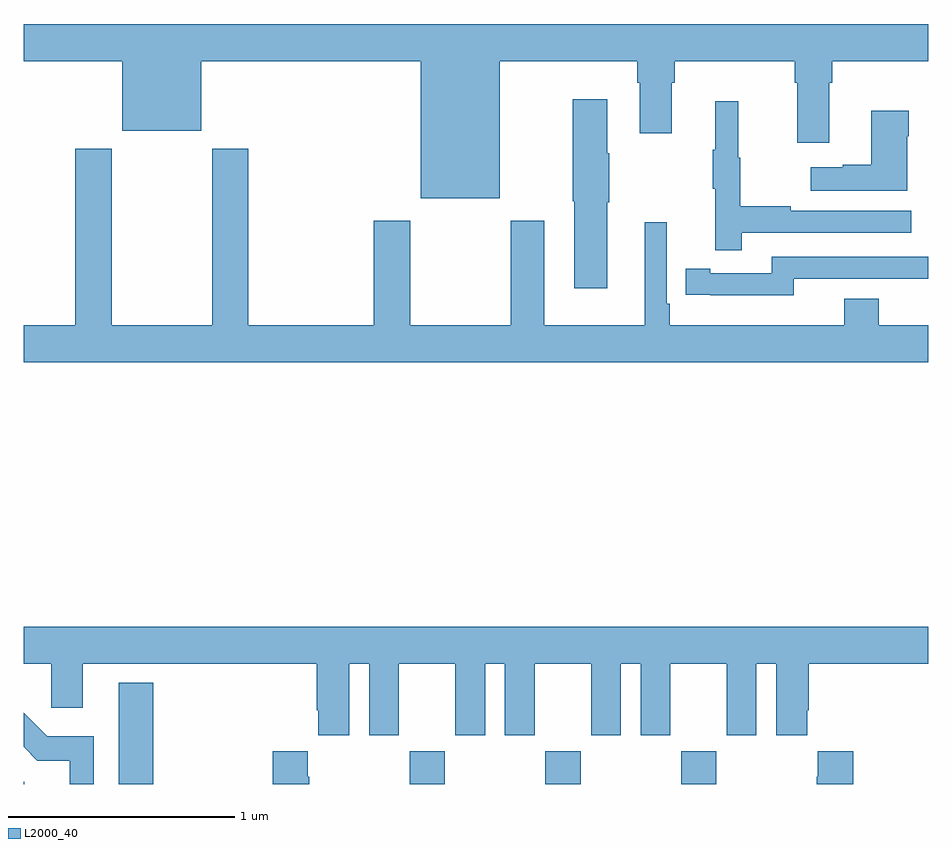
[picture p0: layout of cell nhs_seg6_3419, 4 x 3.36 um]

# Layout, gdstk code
import gdstk
lib = gdstk.Library(unit=1e-6, precision=1e-09)
def R(c, l, rs):  # rectangles x0, y0, x1, y1
    for r in rs: c.add(gdstk.rectangle(r[:2], r[2:], *l))
def A(c, l, x, y, w, h, nx, ny, dx, dy):  # array of equal rectangles
    R(c, l, [(x+i*dx, y+j*dy, x+i*dx+w, y+j*dy+h) for i in range(nx) for j in range(ny)])
def P(c, l, *ps):  # polygons
    for p in ps: c.add(gdstk.Polygon(p, *l))
L2000_40 = (2000, 40)

nhs_seg6_3419 = lib.new_cell('nhs_seg6_3419')
A(nhs_seg6_3419, L2000_40, 314.707, 917.5, 0.155, 0.144, 3, 1, 0.6, 0)
R(nhs_seg6_3419, L2000_40, [(313,917.5,313.003,917.511), (313.421,917.5,313.574,917.947)])
P(nhs_seg6_3419, L2000_40, [(315.106,920.696),(315.713,920.696),(315.713,920.6),(315.725,920.6),(315.725,920.376),(315.865,920.376),(315.865,920.6),(315.878,920.6),(315.878,920.696),(316.409,920.696),(316.409,920.6),(316.421,920.6),(316.421,920.334),(316.561,920.334),(316.561,920.6),(316.574,920.6),(316.574,920.696),(317,920.696),(317,920.86),(313,920.86),(313,920.696),(313.436,920.696),(313.436,920.387),(313.786,920.387),(313.786,920.696),(314.756,920.696),(314.756,920.09),(315.106,920.09)],
  [(315.58,920.071),(315.588,920.071),(315.588,920.288),(315.58,920.288),(315.58,920.527),(315.427,920.527),(315.427,920.077),(315.434,920.077),(315.434,919.692),(315.58,919.692)],
  [(316.175,919.938),(316.924,919.938),(316.924,920.034),(316.391,920.034),(316.391,920.054),(316.168,920.054),(316.168,920.268),(316.16,920.268),(316.16,920.518),(316.058,920.518),(316.058,920.305),(316.047,920.305),(316.047,920.131),(316.058,920.131),(316.058,919.86),(316.175,919.86)],
  [(316.906,920.363),(316.914,920.363),(316.914,920.476),(316.748,920.476),(316.748,920.237),(316.622,920.237),(316.622,920.227),(316.479,920.227),(316.479,920.123),(316.906,920.123)],
  [(317,919.528),(316.781,919.528),(316.781,919.645),(316.628,919.645),(316.628,919.528),(315.857,919.528),(315.857,919.624),(315.843,919.624),(315.843,919.984),(315.746,919.984),(315.746,919.528),(315.301,919.528),(315.301,919.99),(315.154,919.99),(315.154,919.528),(314.709,919.528),(314.709,919.99),(314.549,919.99),(314.549,919.528),(313.994,919.528),(313.994,920.308),(313.834,920.308),(313.834,919.528),(313.389,919.528),(313.389,920.308),(313.229,920.308),(313.229,919.528),(313,919.528),(313,919.364),(317,919.364)],
  [(316.404,919.734),(316.864,919.734),(316.864,919.733),(317,919.733),(317,919.83),(316.308,919.83),(316.308,919.758),(316.036,919.758),(316.036,919.778),(315.928,919.778),(315.928,919.662),(316.036,919.662),(316.036,919.661),(316.404,919.661)],
  [(314.44,918.032),(314.528,918.032),(314.528,917.715),(314.659,917.715),(314.659,918.032),(314.909,918.032),(314.909,917.715),(315.04,917.715),(315.04,918.032),(315.128,918.032),(315.128,917.715),(315.259,917.715),(315.259,918.032),(315.509,918.032),(315.509,917.715),(315.64,917.715),(315.64,918.032),(315.728,918.032),(315.728,917.715),(315.859,917.715),(315.859,918.032),(316.109,918.032),(316.109,917.715),(316.24,917.715),(316.24,918.032),(316.328,918.032),(316.328,917.715),(316.465,917.715),(316.465,917.827),(316.472,917.827),(316.472,918.032),(317,918.032),(317,918.196),(313,918.196),(313,918.032),(313.122,918.032),(313.122,917.838),(313.261,917.838),(313.261,918.032),(314.297,918.032),(314.297,917.827),(314.303,917.827),(314.303,917.715),(314.44,917.715)],
  [(313.309,917.712),(313.104,917.712),(313,917.816),(313,917.664),(313.061,917.603),(313.205,917.603),(313.205,917.5),(313.309,917.5)],
  [(316.667,917.644),(316.511,917.644),(316.511,917.531),(316.507,917.531),(316.507,917.5),(316.667,917.5)],
  [(314.262,917.531),(314.257,917.531),(314.257,917.644),(314.102,917.644),(314.102,917.5),(314.262,917.5)])

lib.write_gds('nhs_seg6_3419.gds')
